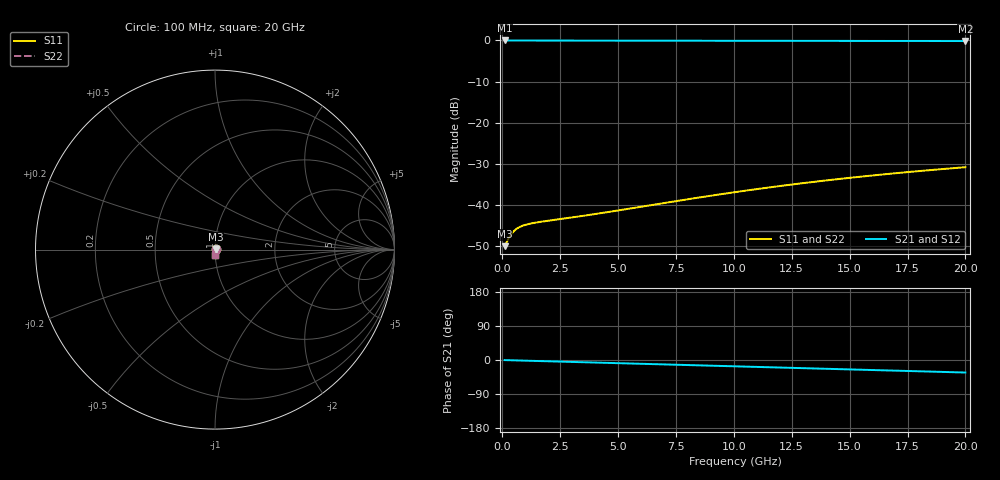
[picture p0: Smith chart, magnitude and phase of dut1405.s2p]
! Touchstone file exported from HFSS 2026.1.0
!  File:  C:/ffzhzh/LocalFiles/Ansys_Project_Files/temp_train_BSMRDL_1405_1783179956_51560.aedt
!  Generated:  11:47:02 PM Jul  4, 2026
!  Design:  BSMRDL
!  Project:  temp_train_BSMRDL_1405_1783179956_51560
! Variables:
!  h_bsmrdl = 2.75um
!  h_ox = 20um
!  h_rdl = 5um
!  h_sub = 80um
!  h_tmrdl = 5um
!  h_tsv = 80um
!  h_via = 3um
!  l_bsmrdl = 580.11um
!  l_sub = 980.11um
!  l_tmrdl = 200um
!  m_sub = 200um
!  pitch = 30.71um
!  r_tsv = 6um
!  s_tmrdl = 10um
!  w_bsmrdl = 27.26um
!  w_sub = 500um
!  w_tmrdl = 12um
!  x_tsv_center1 = 206um
!  x_tsv_center2 = 813.37um
!  x_tsv_center3 = 1025.37um
!  x_tsv_center4 = 1632.74um
!  x_tsv_center5 = 1844.74um
!  x_tsv_center6 = 2452.11um
# GHz S MA R 50.000000
! Terminal data exported
! Port[1] = BSM_RDL1_1_T1
! Port[2] = BSM_RDL1_1_T2
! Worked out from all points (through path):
!   200 points, 100 MHz to 20 GHz, reference 50 ohm
!   highest |S21| = -0.03 dB at 100 MHz (marker M1); lowest = -0.2 dB at 20 GHz (marker M2)
!   group delay of S21, straight-line fit = 4.58 ps
!   lowest |S11| = -50.0 dB at 100 MHz (marker M3), VSWR 1.01, Z = 50.3 + j0.0567 ohm
!   |S11| at or under -10 dB: start of sweep to end of sweep
!   |S22| runs from -50.0 to -30.9 dB; largest |S21 - S12| = 3e-15
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0.1  0.003163 10.3  0.9969 -0.2  0.9969 -0.2  0.003163 10.3
! Gamma 0 0 0 0
! Port Impedance 50 0 50 0
0.3  0.004044 18.3  0.9962 -0.6  0.9962 -0.6  0.004043 18.2
0.4  0.004468 17.9  0.9958 -0.8  0.9958 -0.8  0.004465 17.8
0.5  0.004818 16.4  0.9954 -0.9  0.9954 -0.9  0.00481 16.3
0.6  0.005094 14.6  0.9951 -1.1  0.9951 -1.1  0.005084 14.5
0.7  0.005313 12.7  0.9948 -1.3  0.9948 -1.3  0.0053 12.7
0.8  0.005487 10.9  0.9946 -1.4  0.9946 -1.4  0.005472 10.9
0.9  0.005628 9.2  0.9944 -1.6  0.9944 -1.6  0.005613 9.2
1  0.005746 7.6  0.9943 -1.8  0.9943 -1.8  0.00573 7.6
1.2  0.005935 4.7  0.994 -2.1  0.994 -2.1  0.005919 4.8
1.5  0.006153 1.0  0.9938 -2.6  0.9938 -2.6  0.00614 1.1
3.5  0.007394 -16.1  0.9927 -6.0  0.9927 -6.0  0.007385 -16.0
4.8  0.00841 -24.6  0.9919 -8.1  0.9919 -8.1  0.008391 -24.6
6.8  0.01036 -35.8  0.9905 -11.5  0.9905 -11.5  0.01033 -35.8
8.6  0.01246 -44.5  0.9891 -14.4  0.9891 -14.4  0.01241 -44.6
10.1  0.0144 -51.1  0.9879 -16.9  0.9879 -16.9  0.01433 -51.2
11.7  0.0166 -57.6  0.9866 -19.6  0.9866 -19.6  0.01651 -57.6
13.4  0.01903 -63.9  0.9853 -22.3  0.9853 -22.3  0.01893 -64.0
15  0.02139 -69.4  0.9841 -24.9  0.9841 -24.9  0.02126 -69.5
16.7  0.02391 -74.9  0.9829 -27.7  0.9829 -27.7  0.02376 -75.0
18.3  0.02629 -79.7  0.9818 -30.3  0.9818 -30.3  0.02612 -79.9
20  0.0288 -84.6  0.9807 -33.1  0.9807 -33.1  0.02861 -84.8
